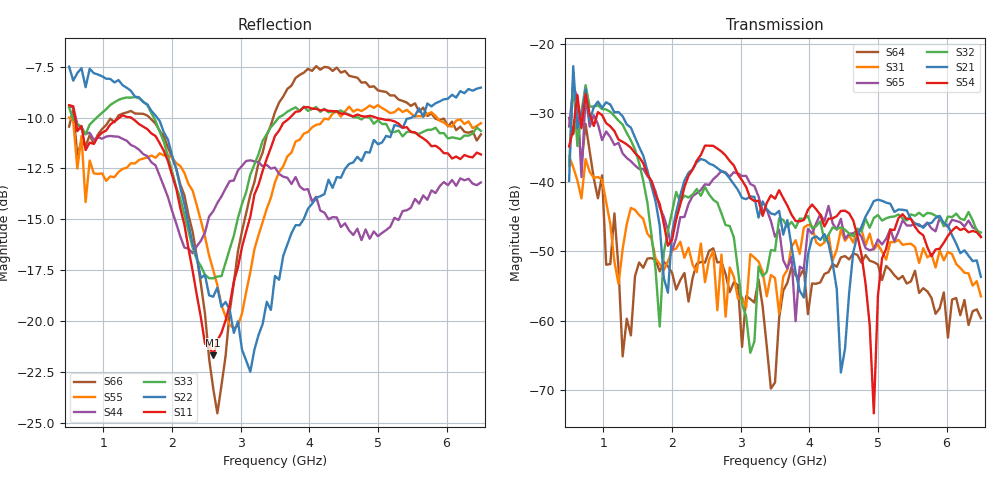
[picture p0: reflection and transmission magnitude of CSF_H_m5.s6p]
!Keysight Technologies,M9804A,MY58100912,A.14.10.03
!Date: Thursday, April 27, 2023 10:28:33
!Correction: S11(C  6-Port  )
!S12(C  6-Port  )
!S13(C  6-Port  )
!S14(C  6-Port  )
!S15(C  6-Port  )
!S16(C  6-Port  )
!S21(C  6-Port  )
!S22(C  6-Port  )
!S23(C  6-Port  )
!S24(C  6-Port  )
!S25(C  6-Port  )
!S26(C  6-Port  )
!S31(C  6-Port  )
!S32(C  6-Port  )
!S33(C  6-Port  )
!S34(C  6-Port  )
!S35(C  6-Port  )
!S36(C  6-Port  )
!S41(C  6-Port  )
!S42(C  6-Port  )
!S43(C  6-Port  )
!S44(C  6-Port  )
!S45(C  6-Port  )
!S46(C  6-Port  )
!S51(C  6-Port  )
!S52(C  6-Port  )
!S53(C  6-Port  )
!S54(C  6-Port  )
!S55(C  6-Port  )
!S56(C  6-Port  )
!S61(C  6-Port  )
!S62(C  6-Port  )
!S63(C  6-Port  )
!S64(C  6-Port  )
!S65(C  6-Port  )
!S66(C  6-Port  )
!S6P File: Measurement: :
# Hz S  RI  R 50
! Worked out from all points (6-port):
!   101 points, 500 MHz to 6.5 GHz, reference 50 ohm
!   strongest paths, dB at 500 MHz, 2 GHz, 3.5 GHz, 5 GHz, 6.5 GHz:
!     S54: -34.8, -48.3, -42.4, -56.4, -47.9
!     S21: -39.8, -47.2, -44.7, -42.5, -53.7
!     S32: -37.6, -44.3, -49.9, -44.7, -47.3
!     S65: -32.0, -49.9, -47.9, -48.3, -47.9
!     S31: -36.3, -49.8, -53.8, -49.0, -56.5
!     S64: -30.7, -53.1, -68.9, -51.9, -59.6
!   lowest |S11| = -21.7 dB at 2.6 GHz (marker M1), VSWR 1.18, Z = 42.6 + j2.01 ohm
!   |S11| at or under -10 dB: 587.3 MHz to 1.236 GHz (648.8 MHz wide, 71.2 % of centre); 1.402 GHz to 3.719 GHz (2.317 GHz wide, 90.5 % of centre); 4.97 GHz to end of sweep
